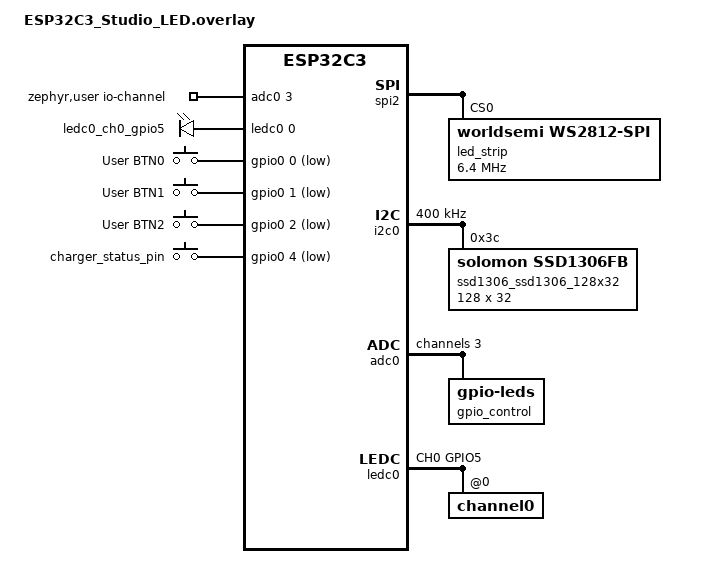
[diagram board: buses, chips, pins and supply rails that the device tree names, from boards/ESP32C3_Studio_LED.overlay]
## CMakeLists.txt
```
# SPDX-License-Identifier: Apache-2.0

cmake_minimum_required(VERSION 3.20.0)

set(BOARD esp32c3_devkitm)
set(DTC_OVERLAY_FILE "boards/ESP32C3_Studio_LED.overlay")

find_package(Zephyr REQUIRED HINTS $ENV{ZEPHYR_BASE})

project(Studio_LED)

target_sources(app PRIVATE src/main.cpp)

add_subdirectory(services/LED_matrix)
add_subdirectory(services/analog_digital_converter)
add_subdirectory(services/pulse_width_modulation)

add_subdirectory(apps/LED_effects)
add_subdirectory(apps/digital_clock)
add_subdirectory(apps/battery_monitoring)
add_subdirectory(apps/cooling_system)
add_subdirectory(apps/ui)
add_subdirectory(apps/BLE)
```

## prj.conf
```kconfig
##################### GENERAL CONFIG #####################
# Config C++
CONFIG_CPP=y

# Main thread config
# CONFIG_MAIN_STACK_SIZE=4096
# System workqueue config
CONFIG_SYSTEM_WORKQUEUE_STACK_SIZE=2048
CONFIG_SYS_HEAP_RUNTIME_STATS=y

##################### LOGGING CONFIG #####################
# Config logging
CONFIG_LOG=y
CONFIG_LOG_BUFFER_SIZE=2048
CONFIG_CBPRINTF_FP_SUPPORT=y

##################### PERIPHERAL CONFIG #####################
# Config driver for WS2812B LED
CONFIG_LED_STRIP=y
# CONFIG_LED_STRIP_LOG_LEVEL_DBG=y

# CONFIG GPIO
CONFIG_GPIO=y

# CONFIG RANDOM
CONFIG_ENTROPY_GENERATOR=y
CONFIG_ENTROPY_DEVICE_RANDOM_GENERATOR=y

# CONFIG RTC
CONFIG_RTC=y

# CONFIG ADC
CONFIG_ADC=y

# CONFIG PWM
CONFIG_PWM=y

# CONFIG DISPLAY
CONFIG_DISPLAY=y

# CONFIG SETTINGS
CONFIG_SETTINGS=y

# FLASH FLASH
CONFIG_FLASH=y
CONFIG_FLASH_PAGE_LAYOUT=y
CONFIG_FLASH_MAP=y
CONFIG_NVS=y

##################### BLE CONFIG #####################
CONFIG_BT=y
CONFIG_BT_SETTINGS=y
CONFIG_BT_MAX_PAIRED=5
# CONFIG_BT_LOG_SNIFFER_INFO=y

# Enable BLE security manager protocol
CONFIG_BT_SMP=y
CONFIG_BT_SMP_SC_ONLY=y
CONFIG_BT_SEND_ECC_EMULATION=y
# CONFIG_BT_SMP_LOG_LEVEL_DBG=y

# Config BLE as peripheral
CONFIG_BT_PERIPHERAL=y

# Enable PHY update
CONFIG_BT_USER_PHY_UPDATE=y
# Enable data length update
CONFIG_BT_USER_DATA_LEN_UPDATE=y

# Enable GATT client
CONFIG_BT_GATT_CLIENT=y
# Enable automatic connection parameter update
CONFIG_BT_GAP_AUTO_UPDATE_CONN_PARAMS=y

##################### LVGL CONFIG #####################
CONFIG_LVGL=y
# CONFIG_LV_USE_LOG=y
CONFIG_LV_Z_MEM_POOL_SIZE=16384

# Turn use default theme (auto enable most of configs)
CONFIG_LV_USE_THEME_DEFAULT=y

# Use zephyr_rtos memory allocation system
CONFIG_LV_MEM_CUSTOM=y

# config font
CONFIG_LV_FONT_MONTSERRAT_12=y
CONFIG_LV_FONT_MONTSERRAT_14=y
CONFIG_LV_FONT_MONTSERRAT_16=y

# monochrome display
CONFIG_LV_COLOR_DEPTH_1=y
CONFIG_LV_Z_BITS_PER_PIXEL=1

# Size of the buffer used for rendering screen content as a percentage of total display size (0 to 100 %).
CONFIG_LV_Z_VDB_SIZE=100

# Default Dots Per Inch. Used to initialize default sizes such as widgets sized, style paddings.
CONFIG_LV_DPI_DEF=145

# config LVGL input
CONFIG_LV_Z_KEYPAD_INPUT=y
CONFIG_INPUT=y

##################### THREAD ANALYZER CONFIG #####################
# # THREAD ANALYZER for debug
# CONFIG_THREAD_ANALYZER=y
# # CONFIG_THREAD_ANALYZER_USE_PRINTK=y
# CONFIG_THREAD_ANALYZER_USE_LOG=y
# CONFIG_THREAD_ANALYZER_AUTO=y
# CONFIG_THREAD_NAME=y
# CONFIG_THREAD_ANALYZER_AUTO_INTERVAL=10

##################### SHELL CONFIG #####################
#Console for debug
# CONFIG_SHELL=y
# CONFIG_I2C_SHELL=y
```

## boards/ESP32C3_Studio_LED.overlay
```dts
#include <zephyr/dt-bindings/led/led.h>
#include <zephyr/dt-bindings/pwm/pwm.h>
#include <zephyr/dt-bindings/lvgl/lvgl.h>
#include <zephyr/dt-bindings/input/input-event-codes.h>
/ {
	aliases {
		led-strip = &led_strip;
		pwm-fan = &ledc0_ch0_gpio5;
	};

	chosen {
		zephyr,display = &ssd1306_ssd1306_128x32;
		zephyr,console = &usb_serial;
		zephyr,shell-uart = &usb_serial;
		// zephyr,rtc = &rtc;
    };

	zephyr,user {
		io-channels =
			<&adc0 3>;	// ADC0, Channel number 3
	};

	pwmfan {
		compatible = "pwm-leds";
		ledc0_ch0_gpio5: ledc0_ch0_gpio5 {
			pwms = <&ledc0 0 100 PWM_POLARITY_NORMAL>;
		};
	};

	buttons: gpio_keys {
		compatible = "gpio-keys";
		user_button0: button_0 {
			label = "User BTN0";
			gpios = <&gpio0 0 (GPIO_PULL_UP | GPIO_ACTIVE_LOW)>;
			zephyr,code = <INPUT_KEY_LEFT>;
		};
		user_button1: button_1 {
			label = "User BTN1";
			gpios = <&gpio0 1 (GPIO_PULL_UP | GPIO_ACTIVE_LOW)>;
			zephyr,code = <INPUT_KEY_RIGHT>;
		};
		user_button2: button_2 {
			label = "User BTN2";
			gpios = <&gpio0 2 (GPIO_PULL_UP | GPIO_ACTIVE_LOW)>;
			zephyr,code = <INPUT_KEY_ENTER>;
		};
	};

	keypad {
        compatible = "zephyr,lvgl-keypad-input";
        input = <&buttons>;
        input-codes = <INPUT_KEY_LEFT INPUT_KEY_RIGHT INPUT_KEY_ENTER>;
        lvgl-codes = <LV_KEY_LEFT LV_KEY_RIGHT LV_KEY_NEXT>;
	};

	input_signals{
		compatible = "gpio-keys";
		charger_status_pin: charger_status_pin {
			gpios = <&gpio0 4 (GPIO_PULL_UP | GPIO_ACTIVE_LOW)>;
			zephyr,code = <INPUT_KEY_0>;
		};
	};	
};

&spi2 {
	dma-enabled;
	/* Workaround to support WS2812 driver */
	line-idle-low;
	led_strip: ws2812@0 {
		compatible = "worldsemi,ws2812-spi";

		/* SPI */
		reg = <0>; /* ignored, but necessary for SPI bindings */
		spi-max-frequency = <6400000>;
		/* WS2812 */
		chain-length = <128>; /* arbitrary; change at will */
		spi-cpha;
		spi-one-frame = <0xf0>; /* 11110000: 625 ns high and 625 ns low */
		spi-zero-frame = <0xc0>; /* 11000000: 312.5 ns high and 937.5 ns low */
		color-mapping = <LED_COLOR_ID_GREEN
						LED_COLOR_ID_RED
						LED_COLOR_ID_BLUE>;
	};

	// gpio_control {
	// 	compatible = "gpio-leds";
	// 	led_strip_enable: led_strip_enable {
	// 		gpios = <&gpio0 10 GPIO_ACTIVE_HIGH>;
	// 	};
	// };
};

&i2c0 {
	clock-frequency = < 400000 >;
	ssd1306_ssd1306_128x32: ssd1306@3c {
		compatible = "solomon,ssd1306fb";
		reg = <0x3c>;
		width = <128>;
		height = <32>;
		segment-offset = <0>;
		page-offset = <0>;
		display-offset = <0>;
		multiplex-ratio = <31>;
		segment-remap;
		com-invdir;
		com-sequential;
		prechargep = <0x22>;
	};
};

&pinctrl {
	spim2_default: spim2_default {
		/delete-property/ group1;	// Delte old prop and insert new one
		group1 {
			pinmux = <SPIM2_MISO_GPIO2>,
				 	<SPIM2_SCLK_GPIO6>;
				//  <SPIM2_CSEL_GPIO10>	// disable this CS pin because this GPIO is used as LED_enable pin
				
		};
		group2 {
			pinmux = <SPIM2_MOSI_GPIO6>;
		};
	};

	i2c0_default: i2c0_default {
		/delete-property/ group1;	// Delte old prop and insert new one
		group1 {
			pinmux = 	<I2C0_SDA_GPIO7>,
						<I2C0_SCL_GPIO8>;
			bias-pull-up;
			drive-open-drain;
			output-high;
		};
	};

	ledc0_default: ledc0_default {
		group1 {
			pinmux = <LEDC_CH0_GPIO5>;
			output-enable;
		};
	};
};

&adc0 {
	status = "okay";
	#address-cells = <1>;
	#size-cells = <0>;

	channel@3 {		// Channel number 3
		reg = <3>;	// Channel number 3
		zephyr,gain = "ADC_GAIN_1_4";
		zephyr,reference = "ADC_REF_INTERNAL";
		zephyr,acquisition-time = <ADC_ACQ_TIME_DEFAULT>;
		zephyr,resolution = <12>;
	};

	gpio_control {
		compatible = "gpio-leds";
		adc0_ch3_enable_pin: adc0_ch3_enable_pin {
			gpios = <&gpio0 9 GPIO_ACTIVE_HIGH>;
		};
	};
};

&ledc0 {
	pinctrl-0 = <&ledc0_default>;
	pinctrl-names = "default";
	status = "okay";
	#address-cells = <1>;
	#size-cells = <0>;
	channel0@0 {
		reg = <0x0>;
		timer = <0>;
	};
};

// &rtc {
	// slow-clk-src = < 0x1 >;
	// fast-clk-src = < 0x00 >;
// };

// /delete-property/ property1;
// /delete-node/ node2;
```

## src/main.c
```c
#include <stdio.h>
#include <errno.h>
#include <string.h>
#include <zephyr/logging/log.h>
#include <zephyr/kernel.h>
#include <zephyr/drivers/led_strip.h>
#include <zephyr/device.h>
#include <zephyr/drivers/spi.h>
#include <zephyr/sys/util.h>
#include <zephyr/drivers/gpio.h>

#define LOG_LEVEL 4
LOG_MODULE_REGISTER(main);

static const struct gpio_dt_spec LED_enable = GPIO_DT_SPEC_GET(DT_NODELABEL(led_strip_enable), gpios);

#define STRIP_NODE		DT_ALIAS(led_strip)
#define STRIP_NUM_PIXELS	DT_PROP(DT_ALIAS(led_strip), chain_length)

#define LED_UPDATE_DELAY	1000
#define DELAY_TIME K_MSEC(LED_UPDATE_DELAY)

#define RGB(_r, _g, _b) { .r = (_r), .g = (_g), .b = (_b) }

static const struct led_rgb colors[] = {
	RGB(0xff, 0x00, 0x00), /* red */
	RGB(0x00, 0xff, 0x00), /* green */
	RGB(0x00, 0x00, 0xff), /* blue */
};

struct led_rgb pixels[STRIP_NUM_PIXELS] = {0};

static const struct device *const strip = DEVICE_DT_GET(STRIP_NODE);

int main(void)
{
	gpio_pin_configure_dt(&LED_enable, GPIO_OUTPUT_ACTIVE);
	gpio_pin_set_dt(&LED_enable, 1);

	size_t index = 0;
	int rc;

	if (device_is_ready(strip)) {
		LOG_INF("Found LED strip device %s", strip->name);
	} else {
		LOG_ERR("LED strip device %s is not ready", strip->name);
		return 0;
	}

	while (1) {
		LOG_INF("Displaying on strip");
		for (size_t cursor = 0; cursor < ARRAY_SIZE(pixels); cursor++)
		{
			memcpy(&pixels[cursor], &colors[0], sizeof(struct led_rgb));
		}
			led_strip_update_rgb(strip, pixels, STRIP_NUM_PIXELS);
			k_sleep(DELAY_TIME);
		
		for (size_t cursor = 0; cursor < ARRAY_SIZE(pixels); cursor++)
		{
			memcpy(&pixels[cursor], &colors[1], sizeof(struct led_rgb));
		}
			led_strip_update_rgb(strip, pixels, STRIP_NUM_PIXELS);
			k_sleep(DELAY_TIME);
		
		for (size_t cursor = 0; cursor < ARRAY_SIZE(pixels); cursor++)
		{
			memcpy(&pixels[cursor], &colors[2], sizeof(struct led_rgb));
		}
			led_strip_update_rgb(strip, pixels, STRIP_NUM_PIXELS);
			k_sleep(DELAY_TIME);
	}

	return 0;
}
```

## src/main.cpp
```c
#include <zephyr/kernel.h>
#include "LED_matrix.h"
#include "LED_effect_1.h"
#include "LED_effect_2.h"
#include "LED_effect_3.h"
#include "LED_effect_4.h"
#include "LED_effect_5.h"
#include "LED_effect_6.h"

#include "digital_clock.h"
#include "ui.h"
#include "usr_ui.h"
#include "battery_monitoring.h"
#include "ble.h"
#include "ble_services.h"
#include "cooling_system.h"

LED_matrix my_LED_matrix;
effect_1_clock usr_effect_1_clock(my_LED_matrix);
effect_2_single_color usr_effect_2_single_color(my_LED_matrix);
effect_3_single_color_rainbow usr_effect_3_single_color_rainbow(my_LED_matrix);
effect_4_random_pixel usr_effect_4_random_pixel(my_LED_matrix);
effect_5_bouncing_ball usr_effect_5_bouncing_ball(my_LED_matrix);
effect_6_meteor usr_effect_6_meteor(my_LED_matrix);

enum ble_control_LED_flag_t
{
	NONE,
	RGB_MODE,
	EFFECTS_MODE
} ble_control_LED_flag;

char ble_control_effect_name[EFFECTS_MAX_NAME_LEN];
uint8_t ble_control_new_effect_flag = 0;
uint8_t ble_control_RGB[3] = {0};

/****** App callbacks ******/
static void usr_RGB_r_cb(uint8_t red, uint8_t green, uint8_t blue)
{
	ble_control_LED_flag = RGB_MODE;
	ble_control_RGB[0] = red;
	ble_control_RGB[1] = green;
	ble_control_RGB[2] = blue;
}

static void usr_effect_w_cb(char *effect_name)
{
	ble_control_LED_flag = EFFECTS_MODE;
	memset(ble_control_effect_name, 0, sizeof(ble_control_effect_name));
	strcpy(ble_control_effect_name, effect_name);
	ble_control_new_effect_flag = 1;
}

static void usr_fan_speed_r_cb(uint8_t fan_speed)
{
	set_fan_mode(manual_mode);
	set_fan_speed(300, fan_speed);
}

static void usr_battery_value_r_cb(uint8_t *battery_level)
{
	*battery_level = get_battery_percent();
}

static void usr_effect_r_cb(char *effect_name)
{
	strcpy(effect_name, "Rainbow\nMeteors\nStars\nBalls\nClock");
}

static struct service_cb service_callback = {
	.RGB_write_cb = usr_RGB_r_cb,
	.effects_write_cb = usr_effect_w_cb,
	.effects_read_cb = usr_effect_r_cb,
	.fan_write_cb = usr_fan_speed_r_cb,
	.battery_read_cb = usr_battery_value_r_cb,
};

int main(void)
{
	my_LED_matrix.init();
	my_LED_matrix.clear();
	service_init(&service_callback);

	// Wait for others task to init
	k_sleep(K_MSEC(50));
	while (1)
	{
		// Solid RGB screen
		if (lv_scr_act() == ui_solidColor)
		{
			set_battery_percent_icon(get_battery_percent());
			set_battery_charging_icon(get_charging_status());
			usr_effect_2_single_color.run(
				lv_slider_get_value(ui_redSlide) * 225 / 100,
				lv_slider_get_value(ui_greenSlide) * 225 / 100,
				lv_slider_get_value(ui_blueSlide) * 255 / 100);
			k_sleep(K_MSEC(10));
		}

		// Effect screen
		else if (lv_scr_act() == ui_effects)
		{
			set_battery_percent_icon(get_battery_percent());
			set_battery_charging_icon(get_charging_status());
			if (!strcmp(roller_str_get(), "Rainbow"))
			{
				usr_effect_3_single_color_rainbow.run(500, 20);
			}
			else if (!strcmp(roller_str_get(), "Meteors"))
			{
				if (new_effect_flag_get())
				{
					usr_effect_6_meteor.init();
				}
				usr_effect_6_meteor.run(40);
			}
			else if (!strcmp(roller_str_get(), "Stars"))
			{
				if (new_effect_flag_get())
				{
					usr_effect_4_random_pixel.init();
				}
				usr_effect_4_random_pixel.run(10);
			}
			else if (!strcmp(roller_str_get(), "Balls"))
			{
				if (new_effect_flag_get())
				{
					usr_effect_5_bouncing_ball.init();
				}
				usr_effect_5_bouncing_ball.run(80);
			}
			else if (!strcmp(roller_str_get(), "Clock"))
			{
				usr_effect_1_clock.run(11, 11, 11);
				k_sleep(K_MSEC(10));
			}
			else
			{
				k_sleep(K_MSEC(10));
			}
		}

		// main screen
		else
		{
			uint8_t _is_ble_connected = is_ble_connected();

			set_battery_percent_icon(get_battery_percent());
			set_battery_charging_icon(get_charging_status());
			set_ble_icon(_is_ble_connected);

			if (!_is_ble_connected)
			{
				usr_effect_2_single_color.run(0, 0, 0);
				set_text_connected_status(_is_ble_connected);
				k_sleep(K_MSEC(10));
				continue;
			}
		
			if (ble_get_pass_code() != 0xBADC0DE)
			{
				set_text_passkey(ble_get_pass_code());
			}
			else
			{
				set_text_connected_status(_is_ble_connected);
			}

			switch (ble_control_LED_flag)
			{
			case RGB_MODE:
				usr_effect_2_single_color.run(ble_control_RGB[0], ble_control_RGB[1], ble_control_RGB[2]);
				k_sleep(K_MSEC(10));
				break;

			case EFFECTS_MODE:
				if (!strcmp(ble_control_effect_name, "Rainbow"))
				{
					usr_effect_3_single_color_rainbow.run(500, 20);
				}
				else if (!strcmp(ble_control_effect_name, "Meteors"))
				{
					if (ble_control_new_effect_flag || new_effect_flag_get())
					{
						usr_effect_6_meteor.init();
						ble_control_new_effect_flag = 0;
					}
					usr_effect_6_meteor.run(40);
				}
				else if (!strcmp(ble_control_effect_name, "Stars"))
				{
					if (ble_control_new_effect_flag || new_effect_flag_get())
					{
						usr_effect_4_random_pixel.init();
						ble_control_new_effect_flag = 0;
					}
					usr_effect_4_random_pixel.run(10);
				}
				else if (!strcmp(ble_control_effect_name, "Balls"))
				{
					if (ble_control_new_effect_flag || new_effect_flag_get())
					{
						usr_effect_5_bouncing_ball.init();
						ble_control_new_effect_flag = 0;
					}
					usr_effect_5_bouncing_ball.run(80);
				}
				else if (!strcmp(ble_control_effect_name, "Clock"))
				{
					usr_effect_1_clock.run(11, 11, 11);
					k_sleep(K_MSEC(10));
				}
				else
				{
					usr_effect_2_single_color.run(0, 0, 0);
					k_sleep(K_MSEC(10));
				}
				break;

			default:
				usr_effect_2_single_color.run(0, 0, 0);
				k_sleep(K_MSEC(10));
			}
		}
	}
	return 0;
}
```
